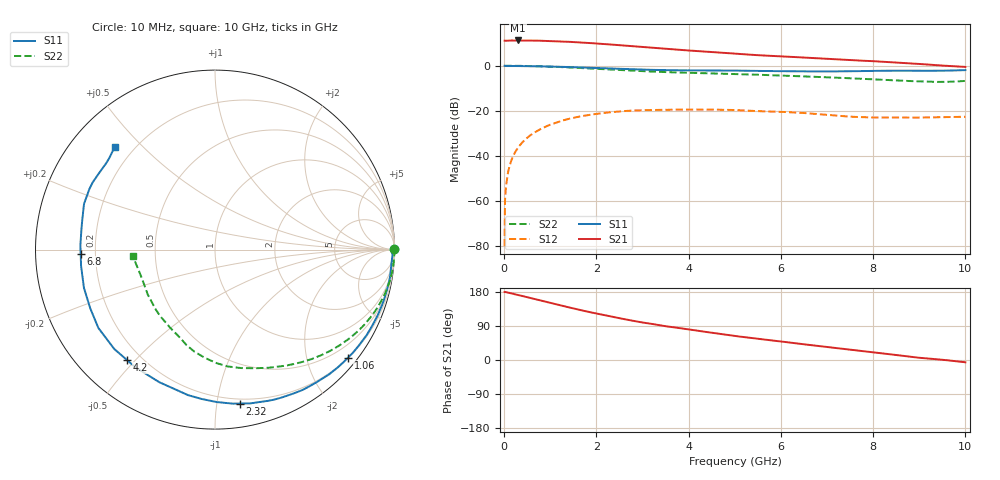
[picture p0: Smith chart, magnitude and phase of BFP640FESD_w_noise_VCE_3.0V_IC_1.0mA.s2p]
! Infineon Technologies  Discrete & RF Semiconductors
! BFP640FESD
! VCE =  3.0 V,  IC =  1.0 mA
! Common Emitter S-Parameters:  Jan 2016
# GHz  S  MA  R  50
!  f  S11  S21  S12  S22
! GHz  MAG  ANG  MAG  ANG  MAG  ANG  MAG  ANG
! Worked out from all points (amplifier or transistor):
!   233 points, 10 MHz to 10 GHz, reference 50 ohm
!   highest |S21| = 11.2 dB at 300 MHz (marker M1)
!   |S21| within 3 dB of that: start of sweep to 3.055 GHz
!   unconditionally stable (mu >= 1): 6.83 GHz to end of sweep
!   at 200 MHz: K = -0.01, MSG = 25.5 dB, |S12| = -39.8 dB
!   at 1.74 GHz: K = 0.09, MSG = 16.2 dB, |S12| = -22.1 dB
!   at 10 GHz: K = 1.82, MAG = 5.8 dB, |S12| = -22.6 dB
!   lowest NFmin = 0.44 dB at 450 MHz
!   S11 on the Smith chart (normalised r, x): 10 MHz: open; 1.06 GHz: 0.20, -2.81; 2.32 GHz: 0.17, -1.16; 4.2 GHz: 0.15, -0.47; 6.8 GHz: 0.14, -0.01; 10 GHz: 0.13, +0.42
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0.01  0.9962 0.1  3.6 179.4  0.0001 -161.4  0.9982 0.1
0.015  0.9917 -0.3  3.588 179.5  0.0005 97.7  0.9987 -0.2
0.02  0.9873 -0.7  3.577 179.7  0.0011 92.6  0.9993 -0.4
0.04  0.9888 -1.4  3.578 179.0  0.0021 87.7  0.9992 -0.8
0.06  0.9889 -2.1  3.584 178.4  0.0031 87.0  0.9992 -1.2
0.1  0.9865 -3.5  3.607 177.5  0.0051 87.7  0.9994 -2.1
0.155  0.986 -5.8  3.622 175.9  0.0079 86.3  0.9986 -3.3
0.3  0.9854 -11.1  3.635 171.6  0.0152 83.3  0.9957 -6.4
0.7  0.9732 -25.8  3.611 159.6  0.0352 73.9  0.9773 -14.9
1.06  0.9554 -39.0  3.519 149.0  0.052 65.3  0.95 -22.4
1.4  0.9338 -51.2  3.397 138.9  0.0664 57.3  0.9179 -29.5
1.68  0.9147 -60.7  3.274 131.0  0.0763 50.9  0.8886 -35.0
1.9  0.8998 -68.0  3.169 125.2  0.0831 46.2  0.8654 -39.3
2.32  0.8689 -80.8  2.952 114.6  0.0935 37.8  0.8213 -47.1
2.86  0.8316 -96.7  2.673 102.0  0.1022 27.8  0.7684 -56.5
3.4  0.803 -110.3  2.41 91.3  0.1056 19.5  0.7288 -64.2
4.2  0.7867 -128.6  2.108 77.3  0.1067 10.2  0.6882 -73.7
5.1  0.7785 -147.8  1.827 61.9  0.1031 0.8  0.6498 -84.9
6  0.7607 -163.7  1.616 48.8  0.0954 -5.3  0.6063 -95.2
6.8  0.7488 -178.3  1.462 37.2  0.0849 -8.8  0.5652 -104.4
8.4  0.7772 154.1  1.196 14.6  0.071 0.2  0.4797 -129.7
10  0.7996 134.3  0.942 -6.0  0.0739 10.4  0.4605 -175.8
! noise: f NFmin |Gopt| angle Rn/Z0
0.45  0.44  0.85  9  0.44
2.4  1.03  0.61  61  0.35
5.5  1.58  0.64  145  0.12
10  3.33  0.68  -128  0.52
